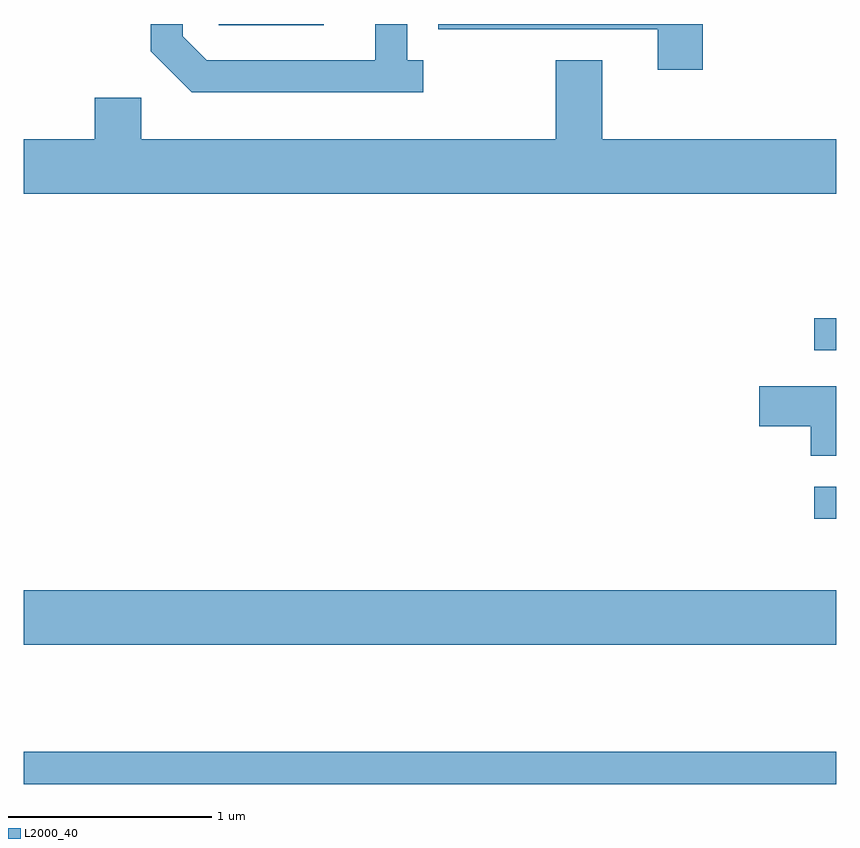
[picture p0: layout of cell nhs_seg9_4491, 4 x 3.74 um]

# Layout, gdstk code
import gdstk
lib = gdstk.Library(unit=1e-6, precision=1e-09)
def R(c, l, rs):  # rectangles x0, y0, x1, y1
    for r in rs: c.add(gdstk.rectangle(r[:2], r[2:], *l))
def P(c, l, *ps):  # polygons
    for p in ps: c.add(gdstk.Polygon(p, *l))
L2000_40 = (2000, 40)

nhs_seg9_4491 = lib.new_cell('nhs_seg9_4491')
R(nhs_seg9_4491, L2000_40, [(317.611,1986.691,321.611,1986.849), (317.611,1987.376,321.611,1987.644), (321.503,1987.996,321.611,1988.154), (321.503,1988.826,321.611,1988.984), (318.571,1990.426,319.088,1990.432), (317.611,1990.431,318.084,1990.432)])
P(nhs_seg9_4491, L2000_40, [(320.954,1990.432),(319.651,1990.432),(319.651,1990.406),(320.731,1990.406),(320.731,1990.206),(320.954,1990.206)],
  [(319.578,1990.254),(319.499,1990.254),(319.499,1990.432),(319.341,1990.432),(319.341,1990.254),(318.512,1990.254),(318.394,1990.372),(318.394,1990.432),(318.236,1990.432),(318.236,1990.299),(318.439,1990.096),(319.578,1990.096)],
  [(321.611,1989.864),(320.459,1989.864),(320.459,1990.254),(320.231,1990.254),(320.231,1989.864),(318.189,1989.864),(318.189,1990.069),(317.961,1990.069),(317.961,1989.864),(317.611,1989.864),(317.611,1989.596),(321.611,1989.596)],
  [(321.611,1988.649),(321.231,1988.649),(321.231,1988.451),(321.486,1988.451),(321.486,1988.306),(321.611,1988.306)])

lib.write_gds('nhs_seg9_4491.gds')
